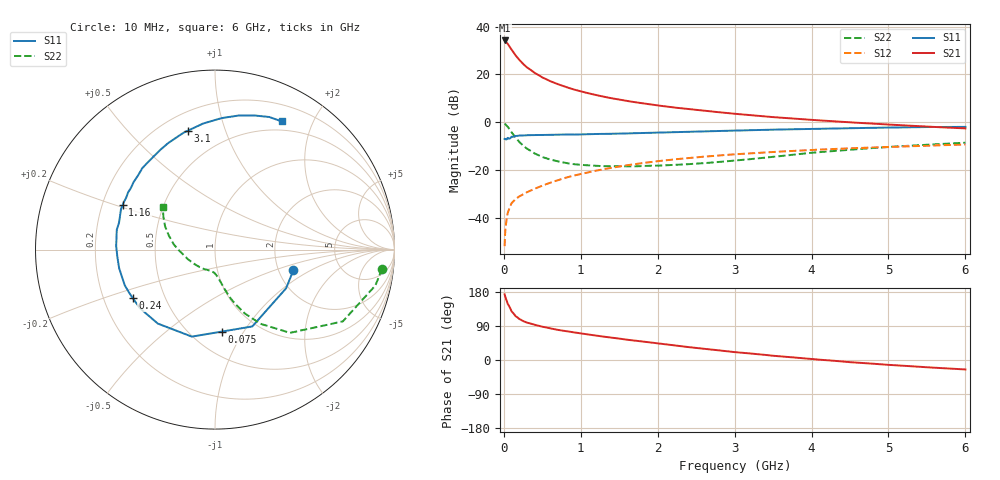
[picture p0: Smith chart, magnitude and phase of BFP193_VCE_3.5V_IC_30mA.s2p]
! Infineon Technologies  Discrete & RF Semiconductors
! BFP193
! VCE = 3.5 V,  IC =  30 mA
! Common Emitter S-Parameters:  Jan 2016
# GHz  S  MA  R  50
!  f  S11  S21  S12  S22
! GHz  MAG  ANG  MAG  ANG  MAG  ANG  MAG  ANG
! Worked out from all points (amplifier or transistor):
!   210 points, 10 MHz to 6 GHz, reference 50 ohm
!   highest |S21| = 34.2 dB at 10 MHz (marker M1)
!   |S21| within 3 dB of that: start of sweep to 82.58 MHz
!   unconditionally stable (mu >= 1): 655.8 MHz to 3.848 GHz
!   at 185 MHz: K = 0.58, MSG = 29.0 dB, |S12| = -31.3 dB
!   at 1.52 GHz: K = 1.07, MAG = 12.3 dB, |S12| = -18.3 dB
!   at 6 GHz: K = 0.94, MSG = 3.4 dB, |S12| = -9.2 dB
!   S11 on the Smith chart (normalised r, x): 10 MHz: 2.41, -0.69; 75 MHz: 0.70, -0.81; 240 MHz: 0.33, -0.24; 1.16 GHz: 0.29, +0.21; 3.1 GHz: 0.31, +0.75; 6 GHz: 0.39, +1.58
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0.01  0.4517 -14.7  51.31 173.3  0.0026 83.6  0.937 -6.5
0.02  0.4509 -28.6  49.38 165.5  0.0058 79.6  0.9159 -12.6
0.05  0.4759 -64.1  43.75 148.4  0.0128 67.5  0.8169 -29.3
0.075  0.4582 -85.1  37.9 139.8  0.0166 61.2  0.7111 -37.4
0.1  0.5017 -104.9  33.18 128.5  0.0205 57.2  0.6241 -48.0
0.15  0.521 -127.7  25.31 116.1  0.0249 52.6  0.4835 -58.6
0.2  0.5306 -142.0  20.25 108.4  0.0284 53.0  0.392 -65.0
0.24  0.5322 -149.6  17.32 104.0  0.0308 53.4  0.3388 -68.4
0.3  0.5408 -158.5  14.08 98.6  0.0348 55.0  0.2835 -72.4
0.4  0.544 -169.0  10.81 92.7  0.041 56.6  0.2244 -76.5
0.5  0.5456 -175.8  8.684 87.8  0.0477 58.8  0.1893 -79.5
0.6  0.551 177.9  7.283 83.5  0.0546 60.0  0.1678 -82.1
0.7  0.5531 172.8  6.29 79.5  0.0619 60.8  0.1531 -84.4
0.9  0.5555 164.2  4.903 73.2  0.0768 60.8  0.1343 -89.1
1.02  0.5633 159.5  4.353 69.6  0.0849 60.4  0.1292 -92.0
1.16  0.5712 154.4  3.845 65.6  0.0954 59.7  0.1248 -96.0
1.6  0.589 140.5  2.8 53.6  0.1271 55.8  0.1207 -109.5
2.02  0.6124 128.5  2.235 43.4  0.1558 51.1  0.1252 -124.0
3.1  0.6794 102.9  1.464 19.1  0.2203 37.9  0.1646 -163.5
4.1  0.7377 85.6  1.1 0.9  0.27 26.2  0.2387 170.6
5.1  0.7822 72.4  0.883 -14.0  0.3108 15.2  0.3136 153.3
6  0.805 62.5  0.749 -25.0  0.3451 5.7  0.3757 140.6
